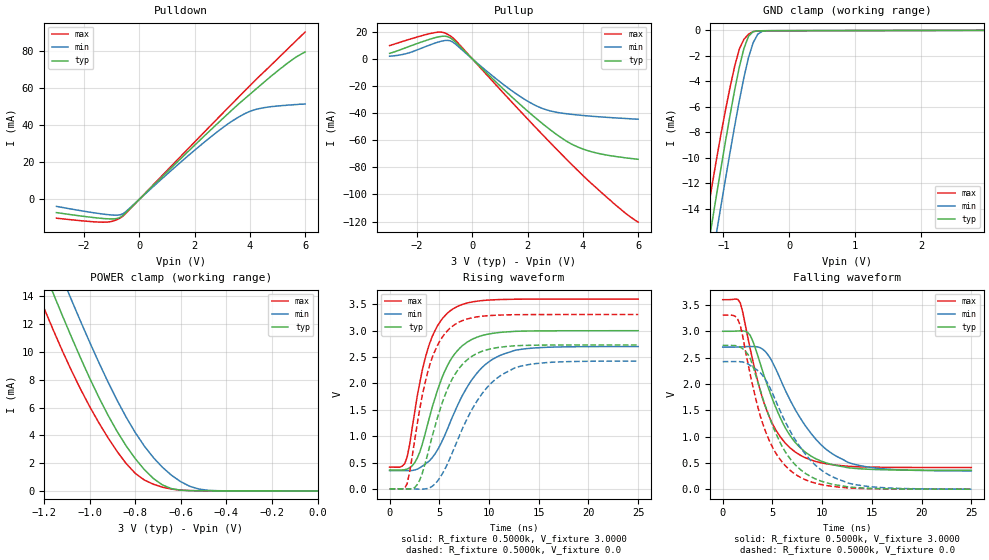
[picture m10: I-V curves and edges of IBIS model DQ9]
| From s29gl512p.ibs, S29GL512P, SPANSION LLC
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|   Model DQ9
[Model]  DQ9
Model_type I/O
Vinl =   0.9000V
Vinh =   2.1000V
Vmeas =  1.5000V
Cref =   30.0000pF
C_comp   2.0000pF   2.0000pF   2.0000pF
[Temperature Range]   25.0000   85.0000   -40.0000
[Pullup Reference]   3.0000V   2.7000V   3.6000V
[Pulldown Reference]   0.0V   0.0V   0.0V
[POWER Clamp Reference]   3.0000V   2.7000V   3.6000V
[GND Clamp Reference]   0.0V   0.0V   0.0V
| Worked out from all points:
|   slope of the pulldown table from 0 to 0.45 V, typ, clamps not added: 67.8 ohm
|   slope of the pullup table from 0 to 0.45 V, typ, clamps not added: 49.6 ohm
|   GND clamp passes 1 mA (typ) near -0.66 V on its own axis
|   POWER clamp passes 1 mA (typ) near -0.73 V on its own axis
|   rising waveform, R_fixture 0.5000k, V_fixture 3.0000: 20-80 % time 2.88ns typ, 3.89ns min, 2.28ns max; typ from 0.359 V to 3 V
|   rising waveform, R_fixture 0.5000k, V_fixture 0.0: 20-80 % time 2.95ns typ, 4.04ns min, 2.32ns max; typ from 0.001 V to 2.73 V
|   falling waveform, R_fixture 0.5000k, V_fixture 3.0000: 20-80 % time 3.67ns typ, 4.57ns min, 3.16ns max; typ from 3 V to 0.358 V
|   falling waveform, R_fixture 0.5000k, V_fixture 0.0: 20-80 % time 3.62ns typ, 4.44ns min, 3.16ns max; typ from 2.73 V to 0 V
[Pulldown]
|Voltage   I(typ)   I(min)   I(max)
-3V       -7.17mA    -3.81mA    -10.17mA
-1.2V     -10.47mA   -8.17mA    -12.31mA
-800mV    -10.32mA   -8.544mA   -10.91mA
-600mV    -8.757mA   -7.868mA   -9.133mA
2.1V      30.57mA    27.71mA    32.41mA
2.9V      41.86mA    37.3mA     44.62mA
3.5V      50.14mA    43.51mA    53.72mA
3.9V      55.32mA    46.78mA    59.76mA
4.3V      60.46mA    48.8mA     65.72mA
5.3V      72.72mA    50.68mA    80.08mA
5.7V      76.95mA    51.11mA    85.86mA
6V        79.44mA    51.4mA     90.2mA
[Pullup]
|Voltage   I(typ)   I(min)   I(max)
-3V       4.17mA     2.07mA     9.9mA
-2.3V     9.19mA     4.53mA     14.42mA
-1.3V     16mA       12.11mA    19.69mA
-1V       16.86mA    13.66mA    19.26mA
-800mV    15.59mA    13.42mA    17.04mA
1.2V      -23.74mA   -20.05mA   -26.86mA
1.9V      -36.74mA   -29.93mA   -42.2mA
2.4V      -45.47mA   -35.41mA   -52.96mA
3.3V      -59.3mA    -40.15mA   -71.87mA
3.9V      -65.69mA   -41.52mA   -84.06mA
5.1V      -71.71mA   -43.4mA    -106.4mA
6V        -74.05mA   -44.44mA   -120.5mA
[GND_clamp]
|Voltage   I(typ)   I(min)   I(max)
-3V       -75.85mA   -77.89mA   -73.19mA
-1.32V    -19.79mA   -22.69mA   -16.78mA
-1.25V    -17.53mA   -20.45mA   -14.55mA
-1.18V    -15.28mA   -18.23mA   -12.37mA
-1.11V    -13.06mA   -16.02mA   -10.24mA
-1.04V    -10.87mA   -13.84mA   -8.202mA
-830mV    -4.679mA   -7.505mA   -2.816mA
-690mV    -1.422mA   -3.704mA   -695uA
-550mV    -95.97uA   -969.7uA   -93.26uA
-480mV    -32.5uA    -297.2uA   -34.91uA
-340mV    -18.5uA    -22.15uA   -21.13uA
2.95V     9.466uA    11.01uA    6.466uA
[POWER_clamp]
|Voltage   I(typ)   I(min)   I(max)
-3V       95.76mA    96.89mA    93.8mA
-1.24V    17.49mA    20.15mA    14.75mA
-1.2V     15.84mA    18.52mA    13.15mA
-1.16V    14.22mA    16.91mA    11.59mA
-1.08V    11.08mA    13.75mA    8.67mA
-960mV    6.753mA    9.258mA    4.922mA
-840mV    3.254mA    5.32mA     1.986mA
-720mV    900.5uA    2.4mA      486.6uA
-640mV    170uA      1.126mA    139uA
-560mV    29.4uA     337.8uA    32.8uA
-480mV    15.26uA    54.7uA     17.13uA
0V        9.881uA    8.893uA    11.86uA
[Ramp]
| variable   typ   min   max
dV/dt_r  1.6375/2.9189n   1.4539/3.9970n   1.9836/2.2911n
dV/dt_f  1.5845/3.6355n   1.4116/4.5283n   1.9128/3.1231n
R_load = 0.5000k
[Rising Waveform]
R_fixture= 0.5000k
V_fixture= 3.0000
V_fixture_min= 2.7000
V_fixture_max= 3.6000
|time   V(typ)   V(min)   V(max)
0s        358.7mV    345.9mV    411.9mV
1.52ns    363.2mV    345.5mV    478.4mV
2.02ns    398.6mV    346.6mV    843.3mV
2.78ns    583.7mV    373.5mV    1.76V
3.54ns    1.019V     464.7mV    2.448V
4.29ns    1.554V     593mV      2.891V
6.31ns    2.498V     1.361V     3.406V
8.84ns    2.881V     2.207V     3.561V
11.36ns   2.972V     2.55V      3.592V
25ns      3V         2.699V     3.6V
[Rising Waveform]
R_fixture= 0.5000k
V_fixture= 0.0
V_fixture_min= 0.0
V_fixture_max= 0.0
|time   V(typ)   V(min)   V(max)
0s        891uV      857.5uV    1.024mV
1.77ns    -3.41mV    164.8uV    102.1mV
2.78ns    82.28mV    -3.729mV   1.23V
3.28ns    290.8mV    -5.355mV   1.768V
4.29ns    1.003V     49.96mV    2.492V
5.3ns     1.638V     284.7mV    2.876V
6.57ns    2.17V      802.6mV    3.119V
9.34ns    2.612V     1.816V     3.275V
12.63ns   2.714V     2.298V     3.303V
25ns      2.73V      2.424V     3.307V
[Falling Waveform]
R_fixture= 0.5000k
V_fixture= 3.0000
V_fixture_min= 2.7000
V_fixture_max= 3.6000
|time   V(typ)   V(min)   V(max)
0s        2.999V     2.699V     3.599V
1.77ns    3.007V     2.702V     3.537V
2.78ns    2.917V     2.709V     2.654V
4.04ns    2.225V     2.655V     1.7V
4.8ns     1.814V     2.483V     1.325V
6.06ns    1.25V      1.976V     928.9mV
7.32ns    882mV      1.501V     701.9mV
9.85ns    536.9mV    851.6mV    503.5mV
12.63ns   407mV      507.4mV    434.5mV
25ns      358.1mV    346.4mV    411mV
[Falling Waveform]
R_fixture= 0.5000k
V_fixture= 0.0
V_fixture_min= 0.0
V_fixture_max= 0.0
|time   V(typ)   V(min)   V(max)
0s        2.73V      2.423V     3.306V
1.52ns    2.716V     2.424V     3.225V
2.53ns    2.563V     2.381V     2.397V
3.54ns    2.027V     2.251V     1.557V
4.55ns    1.444V     2.004V     981.5mV
5.81ns    871.1mV    1.473V     555.2mV
7.32ns    457.9mV    932.3mV    280.1mV
9.6ns     174.5mV    410.7mV    100.9mV
12.63ns   43.01mV    114.7mV    23.42mV
25ns      228.9uV    879.3uV    96.46uV
